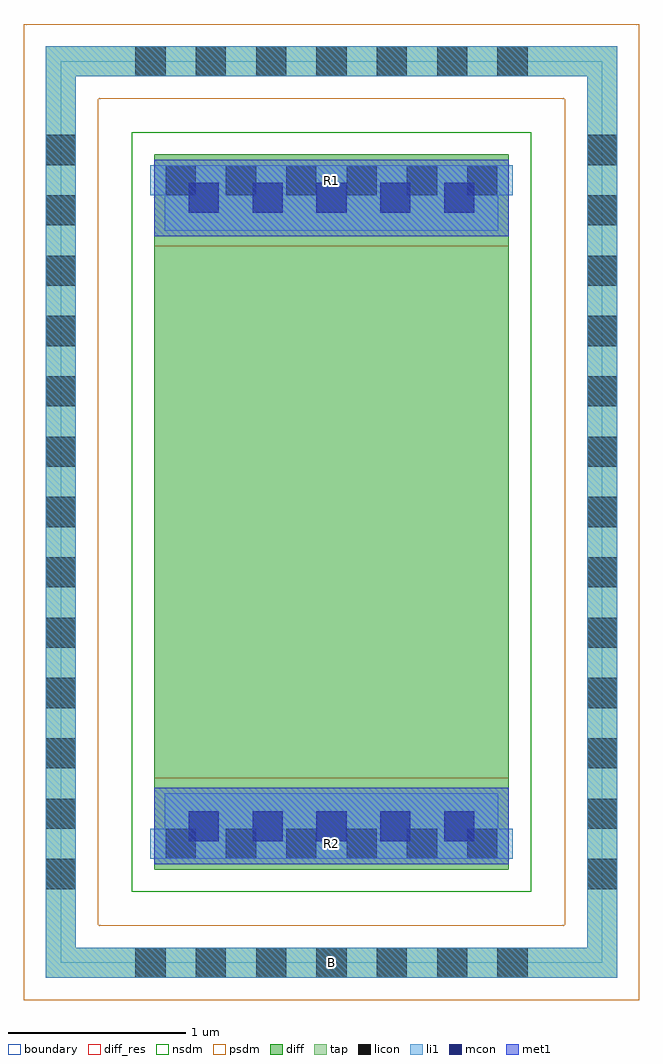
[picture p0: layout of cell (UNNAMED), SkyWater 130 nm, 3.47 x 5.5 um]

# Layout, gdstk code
import gdstk
lib = gdstk.Library(unit=1e-6, precision=1e-09)
def R(c, l, rs):  # rectangles x0, y0, x1, y1
    for r in rs: c.add(gdstk.rectangle(r[:2], r[2:], *l))
def A(c, l, x, y, w, h, nx, ny, dx, dy):  # array of equal rectangles
    R(c, l, [(x+i*dx, y+j*dy, x+i*dx+w, y+j*dy+h) for i in range(nx) for j in range(ny)])
diff_res = (65, 13)
diff = (65, 20)
tap = (65, 44)
licon = (66, 44)
li1 = (67, 20)
mcon = (67, 44)
met1 = (68, 20)
nsdm = (93, 44)
psdm = (94, 20)
boundary = (235, 4)

c__unnamed_ = lib.new_cell('(UNNAMED)')
R(c__unnamed_, diff_res, [(-1,-1.5,1,1.5)])
R(c__unnamed_, diff, [(-1,-2.015,1,2.015)])
R(c__unnamed_, tap, [(-1.61,-2.625,1.61,-2.455), (-1.61,-2.455,-1.44,2.455), (1.44,-2.455,1.61,2.455), (-1.61,2.455,1.61,2.625)])
A(c__unnamed_, licon, -1.105, -2.625, 0.17, 0.17, 7, 2, 0.34, 5.08)
A(c__unnamed_, licon, -1.61, -2.125, 0.17, 0.17, 1, 13, 0, 0.34)
A(c__unnamed_, licon, 1.44, -2.125, 0.17, 0.17, 1, 13, 0, 0.34)
A(c__unnamed_, licon, -0.935, -1.955, 0.17, 0.17, 6, 2, 0.34, 3.74)
R(c__unnamed_, li1, [(-1.61,-2.625,1.61,-2.455), (-1.61,-2.455,-1.44,2.455), (1.44,-2.455,1.61,2.455), (-1.02,-1.955,1.02,-1.785), (-0.94,-1.785,0.94,-1.585), (-0.94,1.585,0.94,1.785), (-1.02,1.785,1.02,1.955), (-1.61,2.455,1.61,2.625)])
A(c__unnamed_, mcon, -0.805, -1.855, 0.17, 0.17, 5, 2, 0.36, 3.54)
R(c__unnamed_, met1, [(-1,-1.985,1,-1.555), (-1,1.555,1,1.985)])
R(c__unnamed_, nsdm, [(-1.125,-2.14,1.125,2.14)])
R(c__unnamed_, psdm, [(-1.735,-2.75,1.735,-2.33), (-1.735,-2.33,-1.315,2.33), (1.315,-2.33,1.735,2.33), (-1.735,2.33,1.735,2.75)])
R(c__unnamed_, boundary, [(-1.525,-2.54,1.525,2.54)])
c__unnamed_.add(gdstk.Label('B', (0,-2.54), layer=67, texttype=5))
c__unnamed_.add(gdstk.Label('R1', (0,1.87), layer=67, texttype=5))
c__unnamed_.add(gdstk.Label('R2', (0,-1.87), layer=67, texttype=5))

lib.write_gds('_UNNAMED_.gds')
